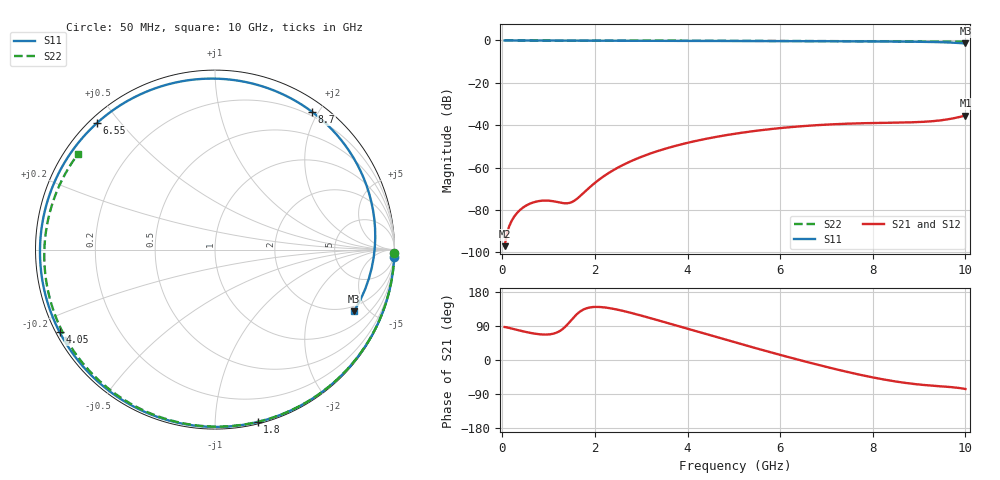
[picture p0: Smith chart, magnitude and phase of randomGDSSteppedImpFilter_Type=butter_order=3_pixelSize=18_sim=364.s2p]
! freq	dB(S11)	phase(S11)	dB(S12)	phase(S12)
!  dB(S21)	phase(S21)	dB(S22)	phase(S22)
!S-par simulation data
#  GHz  S  DB  R 50
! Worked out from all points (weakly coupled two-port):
!   200 points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, 50 MHz to 10 GHz, reference 50 ohm
!   highest |S21| = -35.41 dB at 10 GHz (marker M1); lowest = -97.0 dB at 50 MHz (marker M2)
!   lowest |S11| = -1.4 dB at 10 GHz (marker M3), VSWR 12.14, Z = 83.7 - j204 ohm
!   |S11| at or under -10 dB: nowhere
!   |S22| runs from -0.6 to 0.0 dB; largest |S21 - S12| = 0
!   S11 on the Smith chart (normalised r, x): 50 MHz: 1, -50; 1.8 GHz: 0.01, -1.28; 4.05 GHz: 0.01, -0.25; 6.55 GHz: 0.02, +0.44; 8.7 GHz: 0.15, +1.92; 10 GHz: 1.67, -4.08
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0.05  -0.01 -2.3  -97.03 87.0  -97.03 87.0  -0.00 -1.2
0.35  -0.02 -15.6  -80.65 78.5  -80.65 78.5  -0.01 -8.5
0.6  -0.03 -26.6  -76.97 71.7  -76.97 71.7  -0.02 -14.6
0.85  -0.04 -37.4  -75.61 67.4  -75.61 67.4  -0.02 -20.6
1.45  -0.08 -62.3  -76.63 99.7  -76.63 99.7  -0.04 -34.8
1.75  -0.09 -74.2  -72.02 133.0  -72.02 133.0  -0.05 -41.8
1.8  -0.09 -76.1  -71.00 135.6  -71.00 135.6  -0.05 -43.0
2.15  -0.10 -89.3  -64.68 139.5  -64.68 139.5  -0.06 -51.0
2.5  -0.12 -101.9  -59.94 132.5  -59.94 132.5  -0.08 -59.0
3.4  -0.15 -131.9  -51.86 103.5  -51.86 103.5  -0.10 -78.7
4.05  -0.17 -152.1  -48.03 80.6  -48.03 80.6  -0.13 -92.4
5.05  -0.22 178.2  -43.92 45.7  -43.92 45.7  -0.17 -112.7
5.8  -0.27 156.0  -41.80 20.2  -41.80 20.2  -0.21 -127.5
6.55  -0.32 133.0  -40.31 -4.3  -40.31 -4.3  -0.26 -142.1
6.7  -0.33 128.2  -40.08 -9.0  -40.08 -9.0  -0.28 -145.1
7.6  -0.40 97.9  -39.16 -35.6  -39.16 -35.6  -0.35 -162.8
8.35  -0.49 69.6  -38.82 -53.8  -38.82 -53.8  -0.43 -178.1
8.7  -0.55 54.8  -38.69 -60.4  -38.69 -60.4  -0.47 174.6
9.1  -0.65 36.1  -38.37 -65.9  -38.37 -65.9  -0.51 165.9
9.5  -0.84 14.0  -37.59 -69.7  -37.59 -69.7  -0.56 157.0
9.75  -1.06 -2.8  -36.69 -72.2  -36.69 -72.2  -0.59 151.2
10  -1.43 -23.9  -35.41 -76.5  -35.41 -76.5  -0.62 145.3
